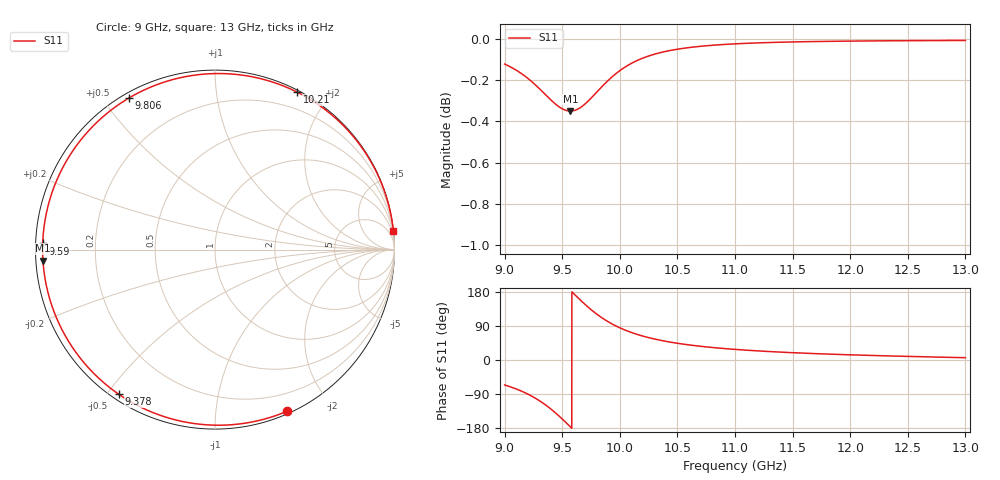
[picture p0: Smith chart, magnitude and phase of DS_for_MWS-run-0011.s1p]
! TOUCHSTONE file generated by CST DESIGN STUDIO
! Date and time: Tue Feb  4 17:45:14 2025
! Project name: C:\Work\MatlabApps\UnitCellOptimizationMatlab\CST\unitcell.cst
! Tree item: Tasks\Sweep1\SPara1\S-Parameters
! Header version: 2024
! Port assignment regex: !\s*Touchstone port\s*([0-9]+)\s*=\s*(CST MWS port|CST DES external port|CST DES block port)\s*(.+)\s* \(\"(.*)\"\)(\s*mode\s*([0-9]+))?.*
! Touchstone port assignment:
! Touchstone port 1 = CST DES external port 1 ("")
# GHz S MA R 50
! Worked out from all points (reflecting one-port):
!   4001 points, 9 GHz to 13 GHz, reference 50 ohm
!   lowest |S11| = -0.3 dB at 9.571 GHz (marker M1), VSWR 49.68, Z = 1.01 - j1.59 ohm
!   phase of S11 starts at -66 deg and turns -288 deg over the sweep
!   S11 on the Smith chart (normalised r, x): 9 GHz: 0.02, -1.54; 9.378 GHz: 0.02, -0.54; 9.59 GHz: 0.02, +0.02; 9.806 GHz: 0.02, +0.58; 10.21 GHz: 0.02, +1.65; 13 GHz: 0, +19
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9  0.9861 -65.9
9.045  0.9847 -70.3
9.113  0.9823 -77.9
9.229  0.9768 -94.3
9.308  0.9723 -108.6
9.378  0.968 -123.7
9.438  0.9645 -138.6
9.5  0.9618 -155.6
9.536  0.9608 -166.0
9.571  0.9605 -176.4
9.59  0.9606 178.0
9.645  0.9619 161.7
9.706  0.9648 144.5
9.756  0.9679 131.5
9.806  0.9712 119.7
9.849  0.974 110.5
9.894  0.9768 101.9
10  0.9825 85.0
10.099  0.9865 72.8
10.207  0.9896 62.5
10.342  0.9923 52.7
10.5  0.9944 44.1
10.721  0.9961 35.5
11  0.9974 28.0
11.5  0.9984 19.3
12  0.9989 13.6
12.5  0.9991 9.5
13  0.9992 6.1
